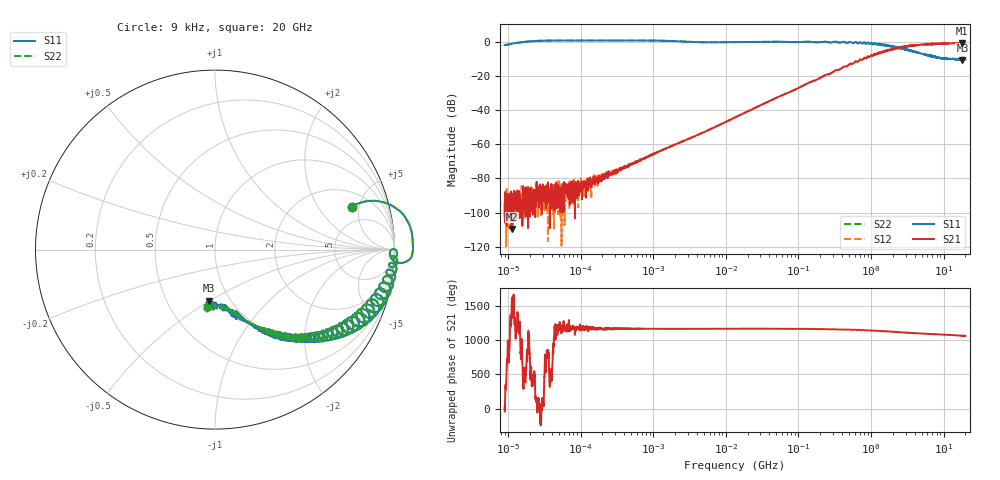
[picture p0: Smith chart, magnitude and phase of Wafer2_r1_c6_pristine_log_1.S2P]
!  2-Port S-parameters saved by WinCal
! VAR MeasName=S-Parameters (CALIBRATED_DATA) read from VNA (P5004A)
! VAR MeasDate=26/04/2024 18:16:41
! VAR NAME=Wafer2_r1_c6_pristine_log
! VAR FILENAME=Wafer2_r1_c6_pristine_log_1.S2P
! VAR DATE=26/04/2024 18:16:41
! VAR PHYS_PORTS=1,2
! VAR ObjTypeName=DATASET
! VAR IndexType=Frequency
# Hz S MA R 50
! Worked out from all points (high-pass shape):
!   2000 points, 9 kHz to 20 GHz, reference 50 ohm
!   highest |S21| = -0.64 dB at 18.05 GHz (marker M1); lowest = -109.6 dB at 11.21 kHz (marker M2)
!   |S21| within 3 dB of the highest: 2.261 GHz to 2.314 GHz (52.76 MHz wide, 2.31 % of centre); 2.349 GHz to end of sweep (the widest 2 of 3)
!   lowest |S11| = -10.9 dB at 18.19 GHz (marker M3), VSWR 1.80, Z = 39.8 - j24.6 ohm
!   |S11| at or under -10 dB: 12.19 GHz to 12.88 GHz (692 MHz wide, 5.52 % of centre); 14.34 GHz to 15.23 GHz (895.1 MHz wide, 6.05 % of centre); 15.42 GHz to 15.99 GHz (570.6 MHz wide, 3.63 % of centre) (the widest 3 of 17)
!   |S22| runs from -10.6 to 0.9 dB; largest |S21 - S12| = 0.037
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9000  0.7977 17.3  1.838e-05 18.5  1.101e-05 0.8  0.7977 17.3
11207.07  0.8791 17.8  3.296e-06 52.3  3.115e-05 117.7  0.8791 17.8
18424.29  1.026 13.4  3.512e-05 -30.2  8.677e-06 -28.6  1.026 13.4
27342.59  1.079 9.1  2.998e-05 62.6  3.972e-05 41.1  1.079 9.1
103439.5  1.102 2.1  4.688e-05 93.5  5.05e-05 67.8  1.102 2.1
199726  1.104 0.8  0.0001265 76.0  0.0001155 102.5  1.103 0.8
1180198  1.09 -2.6  0.0006003 86.6  0.0006097 87.5  1.09 -2.6
4530556  0.9807 -2.6  0.002061 86.7  0.002079 86.6  0.9808 -2.6
1.346554e7  0.9861 0.1  0.006168 89.1  0.006195 88.9  0.9861 0.1
1.105652e8  0.9953 -2.1  0.04949 86.6  0.04982 86.2  0.9948 -2.1
1.536358e8  1.001 -5.5  0.06943 82.8  0.06871 82.9  1.001 -5.4
2.966476e8  0.9827 -6.5  0.129 81.5  0.1302 81.4  0.9825 -6.5
7.506948e8  0.8992 -20.7  0.2948 66.7  0.2941 66.9  0.9007 -20.4
1.043128e9  0.8576 -27.6  0.3859 59.3  0.3861 59.4  0.8591 -27.4
1.752917e9  0.7489 -37.2  0.5528 48.7  0.5558 48.6  0.7484 -37.0
2.945676e9  0.6066 -50.3  0.7209 33.7  0.7273 33.8  0.6091 -50.2
5.646226e9  0.4268 -67.1  0.8473 15.1  0.8522 14.7  0.4246 -67.0
9.488158e9  0.3368 -81.1  0.8925 1.6  0.8823 1.4  0.3346 -77.8
1.347662e10  0.3284 -87.8  0.9249 -5.9  0.9205 -6.7  0.3126 -87.3
1.805428e10  0.3418 -97.2  0.9292 -14.7  0.9022 -16.2  0.2953 -93.5
1.818676e10  0.2863 -97.2  0.8831 -16.3  0.8707 -14.0  0.3256 -91.9
2e10  0.3041 -96.7  0.8867 -17.4  0.9004 -16.6  0.3235 -97.6
